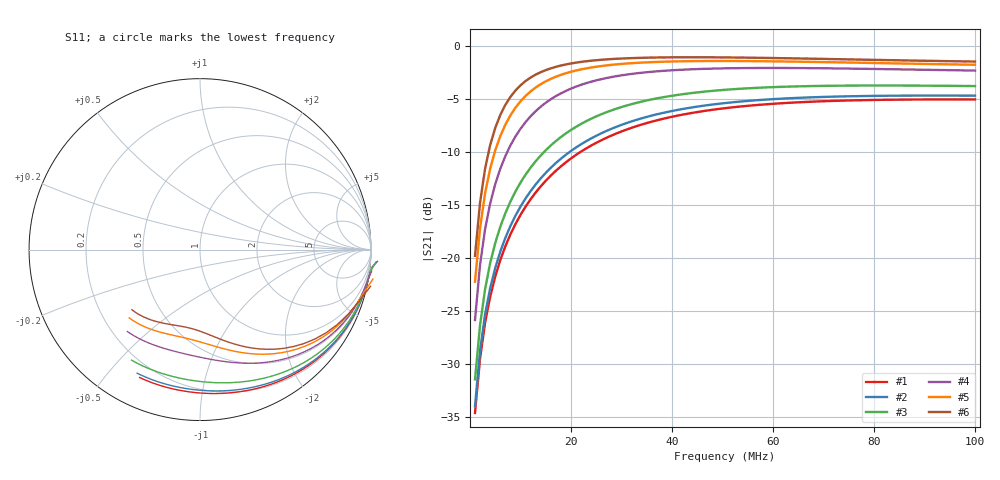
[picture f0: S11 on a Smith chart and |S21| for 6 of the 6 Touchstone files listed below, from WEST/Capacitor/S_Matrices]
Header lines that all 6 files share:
! Touchstone file exported from HFSS 2018.2.0
!  File:  E:/Julien/ICRH/WEST Antenna/Complete Numerical Antenna Model/WEST_ICRH_Capacitor.aedt
!  Design:  WEST_ICRH_Voltage_Probes_depth_m5mm_optimetrics_silver_Part2
!  Project:  WEST_ICRH_Capacitor
!  Setup:  Setup1
!  Solution:  Sweep
! Variables:
# GHZ S DB R 50.000000
Fixed: D_cylinders_step = 110.908mm, d_mesh = 7mm, deemb1 = 150mm, deemb2 = 150mm, deemb3 = 100mm, depth = -5mm, diameter_bellows_fixed_center_1 = 76mm, diameter_bellows_fixed_center_2 = 72mm, diameter_bellows_fixed_left_1 = 76mm, diameter_bellows_fixed_left_2 = 71mm, diameter_big_wave = 74.925mm, diameter_cylinder_1 = 140mm, diameter_cylinder_2 = 110mm, diameter_cylinder_3 = 80mm, diameter_cylinder_4 = 50mm, diameter_cylinder_5 = 19.985mm, diameter_cylinders_fixed = 143mm, diameter_small_wave = 51mm, diametre_coax_external = 216mm, diametre_probe_cavity = 13mm, diametre_probe_external = 7mm, diametre_probe_head = 7mm, diametre_probe_internal = 3mm, length_bellows_fixed_center_1 = 4.1mm, length_bellows_fixed_center_2 = 6.042mm, length_bellows_fixed_left_1 = 4.1mm, length_bellows_fixed_left_2 = 13mm, length_cylinders = 45.5mm, length_cylinders_fixed = 7mm, length_probe = 114mm, length_probe_cavity = 23mm, length_probe_head = 9.5mm, parois_cavity_probe = 1mm, parois_probe = 1mm, thickness_cylinder_1 = 1.5mm, thickness_cylinder_2 = 1.5mm, thickness_cylinder_3 = 1.5mm, thickness_cylinder_4 = 1.5mm, top_probe = 14mm, y0_bellows1 = 223.3mm
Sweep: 1 MHz to 100 MHz
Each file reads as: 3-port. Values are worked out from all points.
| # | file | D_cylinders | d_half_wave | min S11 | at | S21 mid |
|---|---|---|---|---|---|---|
| 1 | WEST_ICRH_Capacitor_Dcylinders76mm.s3p | 76mm | 2.53333333333333mm | -1.6 dB | 100 MHz | -5.8 dB at 51 MHz |
| 2 | WEST_ICRH_Capacitor_Dcylinders77mm.s3p | 77mm | 2.56666666666667mm | -1.8 dB | 93 MHz | -5.3 dB at 51 MHz |
| 3 | WEST_ICRH_Capacitor_Dcylinders80mm.s3p | 80mm | 2.66666666666667mm | -2.4 dB | 81 MHz | -4.1 dB at 51 MHz |
| 4 | WEST_ICRH_Capacitor_Dcylinders90mm.s3p | 90mm | 3mm | -4.2 dB | 60 MHz | -2.1 dB at 51 MHz |
| 5 | WEST_ICRH_Capacitor_Dcylinders100mm.s3p | 100mm | 3.33333333333333mm | -5.6 dB | 50 MHz | -1.4 dB at 51 MHz |
| 6 | WEST_ICRH_Capacitor_Dcylinders110mm.s3p | 110mm | 3.66666666666667mm | -6.7 dB | 44 MHz | -1.1 dB at 51 MHz |
